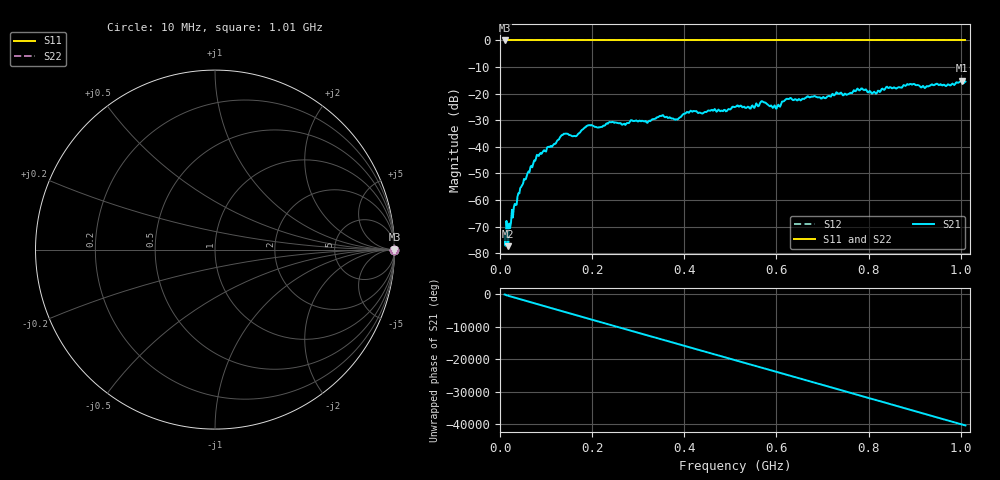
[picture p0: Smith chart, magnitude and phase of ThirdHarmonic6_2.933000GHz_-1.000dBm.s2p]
! 8/17/2025 8:11:55 AM
! C:\ANRITSUVNA\TEMP\TEMP.S2P
! CHANNEL.1
! TR.MEASUREMENT
! RAW.DATA
! RF.CORRECTION.OFF
! AVERAGING.OFF
! IF.BANDWIDTH: 5KHZ
! SWEEPTYPE:  FREQ.SWEEP(Linear)
! Reference Plane Port Info
! PORT:  PORT1  PORT2
! DISTANCE:  0  m  0  m
! TIME:  0  s  0  s
! PHASE.OFFSET:  0  deg.  0  deg.
! LOSS:  0  dB  0  dB
! REF.LOSS:  0  dB  0  dB
! REF.FREQ:  0  Hz  0  Hz
! Power Info
! POWER:  -20  dBm  -20  dBm
! EFF.POWER:  -20  dBm  -20  dBm
! SOURCE.ATTEN:  0  dB  0  dB
! TEST.ATTEN:  0  dB  0  dB
# GHZ S RI R 50.0
! FREQ.GHZ  S11RE  S11IM  S21RE  S21IM  S12RE  S12IM  S22RE  S22IM
!; PortSelection: Port_12
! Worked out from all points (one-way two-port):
!   501 points, 10 MHz to 1.01 GHz, reference 50 ohm
!   highest |S21| = -15.07 dB at 1.002 GHz (marker M1); lowest = -77.3 dB at 18 MHz (marker M2)
!   lowest |S11| = 0.0 dB at 10 MHz (marker M3)
!   |S11| at or under -10 dB: nowhere
!   |S22| runs from 0.0 to 0.0 dB; largest |S21 - S12| = 1.2
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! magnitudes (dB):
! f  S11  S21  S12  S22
! 10 MHz  0.0  -72.4  0.0  0.0
! 14 MHz  0.0  -67.8  0.0  0.0
! 18 MHz  0.0  -77.3  0.0  0.0
! 42 MHz  0.0  -57.5  0.0  0.0
! 78 MHz  0.0  -44.4  0.0  0.0
! 136 MHz  0.0  -35.6  0.0  0.0
! 162 MHz  0.0  -35.9  0.0  0.0
! 178 MHz  0.0  -33.6  0.0  0.0
! 194 MHz  0.0  -31.8  0.0  0.0
! 344 MHz  0.0  -28.8  0.0  0.0
! 382 MHz  0.0  -29.7  0.0  0.0
! 416 MHz  0.0  -26.6  0.0  0.0
! 510 MHz  0.0  -25.0  0.0  0.0
! 570 MHz  0.0  -23.0  0.0  0.0
! 596 MHz  0.0  -24.4  0.0  0.0
! 626 MHz  0.0  -22.0  0.0  0.0
! 678 MHz  0.0  -21.1  0.0  0.0
! 780 MHz  0.0  -18.8  0.0  0.0
! 812 MHz  0.0  -19.3  0.0  0.0
! 844 MHz  0.0  -17.9  0.0  0.0
! 1.002 GHz  0.0  -15.1  0.0  0.0
! 1.01 GHz  0.0  -15.5  0.0  0.0
